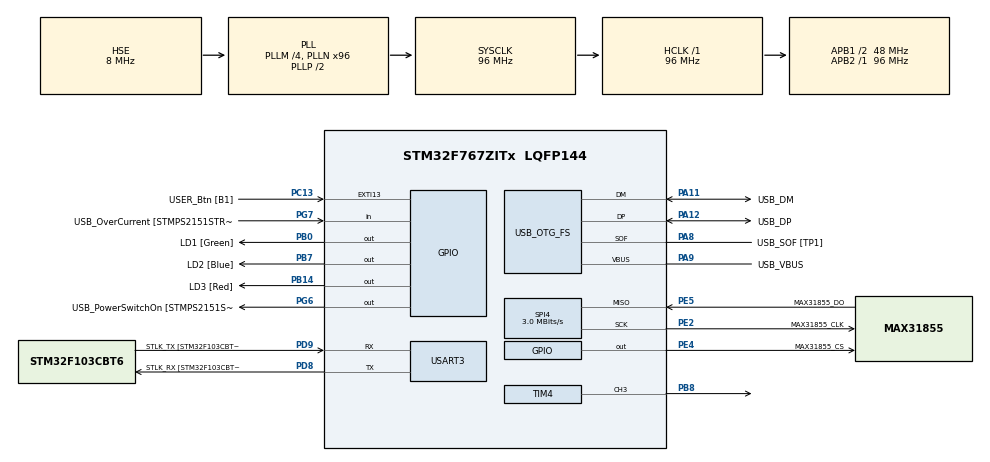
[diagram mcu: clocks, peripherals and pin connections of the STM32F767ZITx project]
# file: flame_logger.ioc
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Mcu.Family=STM32F7
Mcu.Name=STM32F767ZITx
Mcu.Package=LQFP144
NVIC.PriorityGroup=NVIC_PRIORITYGROUP_4
PA1.GPIO_Label=RMII_REF_CLK [LAN8742A-CZ-TR_REFCLK0]
PA1.Signal=ETH_REF_CLK
PA10.GPIO_Label=USB_ID
PA10.Signal=USB_OTG_FS_ID
PA11.GPIO_Label=USB_DM
PA11.Mode=Device_Only
PA11.Signal=USB_OTG_FS_DM
PA12.GPIO_Label=USB_DP
PA12.Mode=Device_Only
PA12.Signal=USB_OTG_FS_DP
PA13.GPIO_Label=TMS
PA13.Mode=Serial_Wire
PA13.Signal=SYS_JTMS-SWDIO
PA14.GPIO_Label=TCK
PA14.Mode=Serial_Wire
PA14.Signal=SYS_JTCK-SWCLK
PA2.GPIO_Label=RMII_MDIO [LAN8742A-CZ-TR_MDIO]
PA2.Signal=ETH_MDIO
PA7.GPIO_Label=RMII_CRS_DV [LAN8742A-CZ-TR_CRS_DV]
PA7.Signal=ETH_CRS_DV
PA8.GPIO_Label=USB_SOF [TP1]
PA8.Mode=Activate_SOF_FS
PA8.Signal=USB_OTG_FS_SOF
PA9.GPIO_Label=USB_VBUS
PA9.Mode=Activate_VBUS
PA9.Signal=USB_OTG_FS_VBUS
PB0.GPIO_Label=LD1 [Green]
PB0.Signal=GPIO_Output
PB13.GPIO_Label=RMII_TXD1 [LAN8742A-CZ-TR_TXD1]
PB13.Signal=ETH_TXD1
PB14.GPIO_Label=LD3 [Red]
PB14.Signal=GPIO_Output
PB3.GPIO_Label=SWO
PB3.Signal=SYS_JTDO-SWO
PB7.GPIO_Label=LD2 [Blue]
PB7.Signal=GPIO_Output
PB8.Signal=S_TIM4_CH3
PC1.GPIO_Label=RMII_MDC [LAN8742A-CZ-TR_MDC]
PC1.Signal=ETH_MDC
PC13.GPIO_Label=USER_Btn [B1]
PC13.Signal=GPXTI13
PC14/OSC32_IN.Mode=LSE-External-Oscillator
PC14/OSC32_IN.Signal=RCC_OSC32_IN
PC15/OSC32_OUT.Mode=LSE-External-Oscillator
PC15/OSC32_OUT.Signal=RCC_OSC32_OUT
PC4.GPIO_Label=RMII_RXD0 [LAN8742A-CZ-TR_RXD0]
PC4.Signal=ETH_RXD0
PC5.GPIO_Label=RMII_RXD1 [LAN8742A-CZ-TR_RXD1]
PC5.Signal=ETH_RXD1
PD8.GPIO_Label=STLK_RX [STM32F103CBT6_PA3]
PD8.Mode=Asynchronous
PD8.Signal=USART3_TX
PD9.GPIO_Label=STLK_TX [STM32F103CBT6_PA2]
PD9.Mode=Asynchronous
PD9.Signal=USART3_RX
PE2.GPIO_Label=MAX31855_CLK
PE2.Mode=RX_Only_Simplex_Unidirect_Master
PE2.Signal=SPI4_SCK
PE4.GPIO_Label=MAX31855_CS
PE4.Signal=GPIO_Output
PE5.GPIO_Label=MAX31855_DO
PE5.Mode=RX_Only_Simplex_Unidirect_Master
PE5.Signal=SPI4_MISO
PG11.GPIO_Label=RMII_TX_EN [LAN8742A-CZ-TR_TXEN]
PG11.Signal=ETH_TX_EN
PG13.GPIO_Label=RMII_TXD0 [LAN8742A-CZ-TR_TXD0]
PG13.Signal=ETH_TXD0
PG6.GPIO_Label=USB_PowerSwitchOn [STMPS2151STR_EN]
PG6.Signal=GPIO_Output
PG7.GPIO_Label=USB_OverCurrent [STMPS2151STR_FAULT]
PG7.Signal=GPIO_Input
PH0/OSC_IN.GPIO_Label=MCO [STM32F103CBT6_PA8]
PH0/OSC_IN.Mode=HSE-External-Clock-Source
PH0/OSC_IN.Signal=RCC_OSC_IN
PH1/OSC_OUT.Mode=HSE-External-Clock-Source
PH1/OSC_OUT.Signal=RCC_OSC_OUT
ProjectManager.HeapSize=0x200
ProjectManager.StackSize=0x400
ProjectManager.TargetToolchain=STM32CubeIDE
RCC.48MHZClocksFreq_Value=24000000
RCC.AHBFreq_Value=96000000
RCC.APB1CLKDivider=RCC_HCLK_DIV2
RCC.APB1Freq_Value=48000000
RCC.APB1TimFreq_Value=96000000
RCC.APB2Freq_Value=96000000
RCC.APB2TimFreq_Value=96000000
RCC.CortexFreq_Value=96000000
RCC.HCLKFreq_Value=96000000
RCC.HSE_VALUE=8000000
RCC.HSI_VALUE=16000000
RCC.PLLM=4
RCC.PLLMUL=RCC_PLL_MUL9
RCC.PLLN=96
RCC.PLLQ=4
RCC.PRESCALERUSB=RCC_USBCLKSOURCE_PLL_DIV1_5
RCC.SYSCLKFreq_VALUE=96000000
RCC.SYSCLKSource=RCC_SYSCLKSOURCE_PLLCLK
RCC.SYSCLKSourceVirtual=RCC_SYSCLKSOURCE_PLLCLK
RCC.USBFreq_Value=48000000
RCC.VCOOutputFreq_Value=192000000
SH.S_TIM4_CH3.0=TIM4_CH3,PWM Generation3 CH3
SPI4.BaudRatePrescaler=SPI_BAUDRATEPRESCALER_32
SPI4.CalculateBaudRate=3.0 MBits/s
SPI4.DataSize=SPI_DATASIZE_8BIT
SPI4.Direction=SPI_DIRECTION_2LINES_RXONLY
SPI4.Mode=SPI_MODE_MASTER
SPI4.NSSPMode=SPI_NSS_PULSE_DISABLE
SPI4.VirtualType=VM_MASTER
TIM4.Channel-PWM\ Generation3\ CH3=TIM_CHANNEL_3
TIM4.Period=19999
TIM4.Prescaler=95
USART3.VirtualMode-Asynchronous=VM_ASYNC
USB_OTG_FS.VirtualMode=Device_Only
board=NUCLEO-F767ZI

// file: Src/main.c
/* USER CODE BEGIN Header */
/**
  ******************************************************************************
  * @file           : main.c
  * @brief          : Main program body
  ******************************************************************************
  * @attention
  *
  * Copyright (c) 2025 STMicroelectronics.
  * All rights reserved.
  *
  * This software is licensed under terms that can be found in the LICENSE file
  * in the root directory of this software component.
  * If no LICENSE file comes with this software, it is provided AS-IS.
  *
  ******************************************************************************
  */
/* USER CODE END Header */
#include "main.h"

/* USER CODE BEGIN Includes */
#include "stdio.h"
#include "string.h"
/* USER CODE END Includes */

SPI_HandleTypeDef hspi4;

TIM_HandleTypeDef htim4;

UART_HandleTypeDef huart3;

PCD_HandleTypeDef hpcd_USB_OTG_FS;

void SystemClock_Config(void);
static void MX_GPIO_Init(void);
static void MX_USART3_UART_Init(void);
static void MX_USB_OTG_FS_PCD_Init(void);
static void MX_SPI4_Init(void);
static void MX_TIM4_Init(void);

/* USER CODE BEGIN 0 */
typedef struct {
  float tc_temp;
  float internal_temp;
  uint8_t fault;
  uint8_t scv, scg, oc;
} MAX31855_Data;

static uint16_t servo_pulse = 1500U;
static uint8_t motor_enabled = 1U;

static MAX31855_Data Read_MAX31855(void) {
  MAX31855_Data d = {0};
  uint8_t data[4];

  HAL_GPIO_WritePin(MAX31855_CS_GPIO_Port, MAX31855_CS_Pin, GPIO_PIN_RESET);
  HAL_SPI_Receive(&hspi4, data, 4, HAL_MAX_DELAY);
  HAL_GPIO_WritePin(MAX31855_CS_GPIO_Port, MAX31855_CS_Pin, GPIO_PIN_SET);

  uint32_t raw = ((uint32_t)data[0] << 24) |
                 ((uint32_t)data[1] << 16) |
                 ((uint32_t)data[2] << 8) |
                 ((uint32_t)data[3]);

  int16_t tc_raw = (raw >> 18) & 0x3FFF;
  if (tc_raw & 0x2000) {
    tc_raw |= 0xC000;
  }
  d.tc_temp = tc_raw * 0.25f;

  int16_t int_raw = (raw >> 4) & 0x0FFF;
  if (int_raw & 0x0800) {
    int_raw |= 0xF000;
  }
  d.internal_temp = int_raw * 0.0625f;

  d.fault = (raw >> 16) & 0x01;
  d.scv = (raw >> 2) & 0x01;
  d.scg = (raw >> 1) & 0x01;
  d.oc = raw & 0x01;

  return d;
}

static void ServoWrite(uint16_t pulse) {
  if (pulse < 500U) {
    pulse = 500U;
  } else if (pulse > 2500U) {
    pulse = 2500U;
  }
  servo_pulse = pulse;
  if (motor_enabled) {
    __HAL_TIM_SET_COMPARE(&htim4, TIM_CHANNEL_3, servo_pulse);
  }
}

static void MotorSet(uint8_t enable) {
  if (enable) {
    if (!motor_enabled) {
      HAL_TIM_PWM_Start(&htim4, TIM_CHANNEL_3);
      motor_enabled = 1U;
      __HAL_TIM_SET_COMPARE(&htim4, TIM_CHANNEL_3, servo_pulse);
    }
  } else {
    if (motor_enabled) {
      HAL_TIM_PWM_Stop(&htim4, TIM_CHANNEL_3);
      motor_enabled = 0U;
    }
  }
}

static void SendData(const MAX31855_Data *d) {
  char buf[96];

  if (d->fault) {
    snprintf(buf, sizeof buf, "DATA,%lu,%u,FAULT,%.2f,%.2f,%d,%d,%d\r\n",
             HAL_GetTick(),
             (unsigned int)servo_pulse,
             d->tc_temp,
             d->internal_temp,
             d->scv,
             d->scg,
             d->oc);
  } else {
    snprintf(buf, sizeof buf, "DATA,%lu,%u,%.2f,%.2f\r\n",
             HAL_GetTick(),
             (unsigned int)servo_pulse,
             d->tc_temp,
             d->internal_temp);
  }

  HAL_UART_Transmit(&huart3, (uint8_t *)buf, strlen(buf), HAL_MAX_DELAY);
}

/* USER CODE END 0 */

int main(void)
{

  /* MCU Configuration--------------------------------------------------------*/

  /* Reset of all peripherals, Initializes the Flash interface and the Systick. */
  HAL_Init();

  /* Configure the system clock */
  SystemClock_Config();

  /* Initialize all configured peripherals */
  MX_GPIO_Init();
  MX_USART3_UART_Init();
  MX_USB_OTG_FS_PCD_Init();
  MX_SPI4_Init();
  MX_TIM4_Init();
  /* USER CODE BEGIN 2 */
  HAL_TIM_PWM_Start(&htim4, TIM_CHANNEL_3);
  motor_enabled = 1U;
  ServoWrite(servo_pulse);
  /* USER CODE END 2 */

  /* Infinite loop */
  /* USER CODE BEGIN WHILE */
  while (1)
  {
      char rx_buf[32] = {0};
      uint8_t ch;
      uint8_t idx = 0;

      // vent på kommando (en linje som ender med '\n')
      do {
          HAL_UART_Receive(&huart3, &ch, 1, HAL_MAX_DELAY);
          if (ch == '\r') continue;
          rx_buf[idx++] = ch;
      } while (ch != '\n' && idx < sizeof(rx_buf) - 1);

    uint16_t new_pulse;

    if (sscanf(rx_buf, "SET %hu", &new_pulse) == 1)
    {
      ServoWrite(new_pulse);

      char msg[48];
      if (!motor_enabled)
      {
        snprintf(msg, sizeof msg, "ERR,DISABLED,%u\r\n", (unsigned int)servo_pulse);
      }
      else
      {
        snprintf(msg, sizeof msg, "OK,%u\r\n", (unsigned int)servo_pulse);
      }
      HAL_UART_Transmit(&huart3, (uint8_t *)msg, strlen(msg), HAL_MAX_DELAY);
    }
    else if (strncmp(rx_buf, "GET", 3) == 0)
    {
      MAX31855_Data d = Read_MAX31855();
      SendData(&d);
    }
    else if (strncmp(rx_buf, "MOTOR ON", 8) == 0)
    {
      MotorSet(1U);
      char msg[48];
      snprintf(msg, sizeof msg, "OK,MOTOR,ON,%u\r\n", (unsigned int)servo_pulse);
      HAL_UART_Transmit(&huart3, (uint8_t *)msg, strlen(msg), HAL_MAX_DELAY);
    }
    else if (strncmp(rx_buf, "MOTOR OFF", 9) == 0)
    {
      MotorSet(0U);
      char msg[48];
      snprintf(msg, sizeof msg, "OK,MOTOR,OFF,%u\r\n", (unsigned int)servo_pulse);
      HAL_UART_Transmit(&huart3, (uint8_t *)msg, strlen(msg), HAL_MAX_DELAY);
    }
    else
    {
      const char *err = "ERR,UNKNOWN\r\n";
      HAL_UART_Transmit(&huart3, (uint8_t *)err, strlen(err), HAL_MAX_DELAY);
    }
  /* USER CODE END WHILE */
  }
}

void SystemClock_Config(void)
{
  RCC_OscInitTypeDef RCC_OscInitStruct = {0};
  RCC_ClkInitTypeDef RCC_ClkInitStruct = {0};

  /** Configure LSE Drive Capability
  */
  HAL_PWR_EnableBkUpAccess();

  /** Configure the main internal regulator output voltage
  */
  __HAL_RCC_PWR_CLK_ENABLE();
  __HAL_PWR_VOLTAGESCALING_CONFIG(PWR_REGULATOR_VOLTAGE_SCALE3);

  /** Initializes the RCC Oscillators according to the specified parameters
  * in the RCC_OscInitTypeDef structure.
  */
  RCC_OscInitStruct.OscillatorType = RCC_OSCILLATORTYPE_HSE;
  RCC_OscInitStruct.HSEState = RCC_HSE_BYPASS;
  RCC_OscInitStruct.PLL.PLLState = RCC_PLL_ON;
  RCC_OscInitStruct.PLL.PLLSource = RCC_PLLSOURCE_HSE;
  RCC_OscInitStruct.PLL.PLLM = 4;
  RCC_OscInitStruct.PLL.PLLN = 96;
  RCC_OscInitStruct.PLL.PLLP = RCC_PLLP_DIV2;
  RCC_OscInitStruct.PLL.PLLQ = 4;
  RCC_OscInitStruct.PLL.PLLR = 2;
  if (HAL_RCC_OscConfig(&RCC_OscInitStruct) != HAL_OK)
  {
    Error_Handler();
  }

  /** Activate the Over-Drive mode
  */
  if (HAL_PWREx_EnableOverDrive() != HAL_OK)
  {
    Error_Handler();
  }

  /** Initializes the CPU, AHB and APB buses clocks
  */
  RCC_ClkInitStruct.ClockType = RCC_CLOCKTYPE_HCLK|RCC_CLOCKTYPE_SYSCLK
                              |RCC_CLOCKTYPE_PCLK1|RCC_CLOCKTYPE_PCLK2;
  RCC_ClkInitStruct.SYSCLKSource = RCC_SYSCLKSOURCE_PLLCLK;
  RCC_ClkInitStruct.AHBCLKDivider = RCC_SYSCLK_DIV1;
  RCC_ClkInitStruct.APB1CLKDivider = RCC_HCLK_DIV2;
  RCC_ClkInitStruct.APB2CLKDivider = RCC_HCLK_DIV1;

  if (HAL_RCC_ClockConfig(&RCC_ClkInitStruct, FLASH_LATENCY_3) != HAL_OK)
  {
    Error_Handler();
  }
}

static void MX_SPI4_Init(void)
{

  /* SPI4 parameter configuration*/
  hspi4.Instance = SPI4;
  hspi4.Init.Mode = SPI_MODE_MASTER;
  hspi4.Init.Direction = SPI_DIRECTION_2LINES_RXONLY;
  hspi4.Init.DataSize = SPI_DATASIZE_8BIT;
  hspi4.Init.CLKPolarity = SPI_POLARITY_LOW;
  hspi4.Init.CLKPhase = SPI_PHASE_1EDGE;
  hspi4.Init.NSS = SPI_NSS_SOFT;
  hspi4.Init.BaudRatePrescaler = SPI_BAUDRATEPRESCALER_32;
  hspi4.Init.FirstBit = SPI_FIRSTBIT_MSB;
  hspi4.Init.TIMode = SPI_TIMODE_DISABLE;
  hspi4.Init.CRCCalculation = SPI_CRCCALCULATION_DISABLE;
  hspi4.Init.CRCPolynomial = 7;
  hspi4.Init.CRCLength = SPI_CRC_LENGTH_DATASIZE;
  hspi4.Init.NSSPMode = SPI_NSS_PULSE_DISABLE;
  if (HAL_SPI_Init(&hspi4) != HAL_OK)
  {
    Error_Handler();
  }

}

static void MX_TIM4_Init(void)
{

  TIM_MasterConfigTypeDef sMasterConfig = {0};
  TIM_OC_InitTypeDef sConfigOC = {0};

  htim4.Instance = TIM4;
  htim4.Init.Prescaler = 95;
  htim4.Init.CounterMode = TIM_COUNTERMODE_UP;
  htim4.Init.Period = 19999;
  htim4.Init.ClockDivision = TIM_CLOCKDIVISION_DIV1;
  htim4.Init.AutoReloadPreload = TIM_AUTORELOAD_PRELOAD_DISABLE;
  if (HAL_TIM_PWM_Init(&htim4) != HAL_OK)
  {
    Error_Handler();
  }
  sMasterConfig.MasterOutputTrigger = TIM_TRGO_RESET;
  sMasterConfig.MasterSlaveMode = TIM_MASTERSLAVEMODE_DISABLE;
  if (HAL_TIMEx_MasterConfigSynchronization(&htim4, &sMasterConfig) != HAL_OK)
  {
    Error_Handler();
  }
  sConfigOC.OCMode = TIM_OCMODE_PWM1;
  sConfigOC.Pulse = 0;
  sConfigOC.OCPolarity = TIM_OCPOLARITY_HIGH;
  sConfigOC.OCFastMode = TIM_OCFAST_DISABLE;
  if (HAL_TIM_PWM_ConfigChannel(&htim4, &sConfigOC, TIM_CHANNEL_3) != HAL_OK)
  {
    Error_Handler();
  }
  HAL_TIM_MspPostInit(&htim4);

}

static void MX_USART3_UART_Init(void)
{

  huart3.Instance = USART3;
  huart3.Init.BaudRate = 115200;
  huart3.Init.WordLength = UART_WORDLENGTH_8B;
  huart3.Init.StopBits = UART_STOPBITS_1;
  huart3.Init.Parity = UART_PARITY_NONE;
  huart3.Init.Mode = UART_MODE_TX_RX;
  huart3.Init.HwFlowCtl = UART_HWCONTROL_NONE;
  huart3.Init.OverSampling = UART_OVERSAMPLING_16;
  huart3.Init.OneBitSampling = UART_ONE_BIT_SAMPLE_DISABLE;
  huart3.AdvancedInit.AdvFeatureInit = UART_ADVFEATURE_NO_INIT;
  if (HAL_UART_Init(&huart3) != HAL_OK)
  {
    Error_Handler();
  }

}

static void MX_USB_OTG_FS_PCD_Init(void)
{

  hpcd_USB_OTG_FS.Instance = USB_OTG_FS;
  hpcd_USB_OTG_FS.Init.dev_endpoints = 6;
  hpcd_USB_OTG_FS.Init.speed = PCD_SPEED_FULL;
  hpcd_USB_OTG_FS.Init.dma_enable = DISABLE;
  hpcd_USB_OTG_FS.Init.phy_itface = PCD_PHY_EMBEDDED;
  hpcd_USB_OTG_FS.Init.Sof_enable = ENABLE;
  hpcd_USB_OTG_FS.Init.low_power_enable = DISABLE;
  hpcd_USB_OTG_FS.Init.lpm_enable = DISABLE;
  hpcd_USB_OTG_FS.Init.vbus_sensing_enable = ENABLE;
  hpcd_USB_OTG_FS.Init.use_dedicated_ep1 = DISABLE;
  if (HAL_PCD_Init(&hpcd_USB_OTG_FS) != HAL_OK)
  {
    Error_Handler();
  }

}

static void MX_GPIO_Init(void)
{
  GPIO_InitTypeDef GPIO_InitStruct = {0};

  /* GPIO Ports Clock Enable */
  __HAL_RCC_GPIOE_CLK_ENABLE();
  __HAL_RCC_GPIOC_CLK_ENABLE();
  __HAL_RCC_GPIOH_CLK_ENABLE();
  __HAL_RCC_GPIOA_CLK_ENABLE();
  __HAL_RCC_GPIOB_CLK_ENABLE();
  __HAL_RCC_GPIOD_CLK_ENABLE();
  __HAL_RCC_GPIOG_CLK_ENABLE();

  /*Configure GPIO pin Output Level */
  HAL_GPIO_WritePin(MAX31855_CS_GPIO_Port, MAX31855_CS_Pin, GPIO_PIN_RESET);

  /*Configure GPIO pin Output Level */
  HAL_GPIO_WritePin(GPIOB, LD1_Pin|LD3_Pin|LD2_Pin, GPIO_PIN_RESET);

  /*Configure GPIO pin Output Level */
  HAL_GPIO_WritePin(USB_PowerSwitchOn_GPIO_Port, USB_PowerSwitchOn_Pin, GPIO_PIN_RESET);

  /*Configure GPIO pin : MAX31855_CS_Pin */
  GPIO_InitStruct.Pin = MAX31855_CS_Pin;
  GPIO_InitStruct.Mode = GPIO_MODE_OUTPUT_PP;
  GPIO_InitStruct.Pull = GPIO_NOPULL;
  GPIO_InitStruct.Speed = GPIO_SPEED_FREQ_LOW;
  HAL_GPIO_Init(MAX31855_CS_GPIO_Port, &GPIO_InitStruct);

  /*Configure GPIO pin : USER_Btn_Pin */
  GPIO_InitStruct.Pin = USER_Btn_Pin;
  GPIO_InitStruct.Mode = GPIO_MODE_IT_RISING;
  GPIO_InitStruct.Pull = GPIO_NOPULL;
  HAL_GPIO_Init(USER_Btn_GPIO_Port, &GPIO_InitStruct);

  /*Configure GPIO pins : RMII_MDC_Pin RMII_RXD0_Pin RMII_RXD1_Pin */
  GPIO_InitStruct.Pin = RMII_MDC_Pin|RMII_RXD0_Pin|RMII_RXD1_Pin;
  GPIO_InitStruct.Mode = GPIO_MODE_AF_PP;
  GPIO_InitStruct.Pull = GPIO_NOPULL;
  GPIO_InitStruct.Speed = GPIO_SPEED_FREQ_VERY_HIGH;
  GPIO_InitStruct.Alternate = GPIO_AF11_ETH;
  HAL_GPIO_Init(GPIOC, &GPIO_InitStruct);

  /*Configure GPIO pins : RMII_REF_CLK_Pin RMII_MDIO_Pin RMII_CRS_DV_Pin */
  GPIO_InitStruct.Pin = RMII_REF_CLK_Pin|RMII_MDIO_Pin|RMII_CRS_DV_Pin;
  GPIO_InitStruct.Mode = GPIO_MODE_AF_PP;
  GPIO_InitStruct.Pull = GPIO_NOPULL;
  GPIO_InitStruct.Speed = GPIO_SPEED_FREQ_VERY_HIGH;
  GPIO_InitStruct.Alternate = GPIO_AF11_ETH;
  HAL_GPIO_Init(GPIOA, &GPIO_InitStruct);

  /*Configure GPIO pins : LD1_Pin LD3_Pin LD2_Pin */
  GPIO_InitStruct.Pin = LD1_Pin|LD3_Pin|LD2_Pin;
  GPIO_InitStruct.Mode = GPIO_MODE_OUTPUT_PP;
  GPIO_InitStruct.Pull = GPIO_NOPULL;
  GPIO_InitStruct.Speed = GPIO_SPEED_FREQ_LOW;
  HAL_GPIO_Init(GPIOB, &GPIO_InitStruct);

  /*Configure GPIO pin : RMII_TXD1_Pin */
  GPIO_InitStruct.Pin = RMII_TXD1_Pin;
  GPIO_InitStruct.Mode = GPIO_MODE_AF_PP;
  GPIO_InitStruct.Pull = GPIO_NOPULL;
  GPIO_InitStruct.Speed = GPIO_SPEED_FREQ_VERY_HIGH;
  GPIO_InitStruct.Alternate = GPIO_AF11_ETH;
  HAL_GPIO_Init(RMII_TXD1_GPIO_Port, &GPIO_InitStruct);

  /*Configure GPIO pin : USB_PowerSwitchOn_Pin */
  GPIO_InitStruct.Pin = USB_PowerSwitchOn_Pin;
  GPIO_InitStruct.Mode = GPIO_MODE_OUTPUT_PP;
  GPIO_InitStruct.Pull = GPIO_NOPULL;
  GPIO_InitStruct.Speed = GPIO_SPEED_FREQ_LOW;
  HAL_GPIO_Init(USB_PowerSwitchOn_GPIO_Port, &GPIO_InitStruct);

  /*Configure GPIO pin : USB_OverCurrent_Pin */
  GPIO_InitStruct.Pin = USB_OverCurrent_Pin;
  GPIO_InitStruct.Mode = GPIO_MODE_INPUT;
  GPIO_InitStruct.Pull = GPIO_NOPULL;
  HAL_GPIO_Init(USB_OverCurrent_GPIO_Port, &GPIO_InitStruct);

  /*Configure GPIO pins : RMII_TX_EN_Pin RMII_TXD0_Pin */
  GPIO_InitStruct.Pin = RMII_TX_EN_Pin|RMII_TXD0_Pin;
  GPIO_InitStruct.Mode = GPIO_MODE_AF_PP;
  GPIO_InitStruct.Pull = GPIO_NOPULL;
  GPIO_InitStruct.Speed = GPIO_SPEED_FREQ_VERY_HIGH;
  GPIO_InitStruct.Alternate = GPIO_AF11_ETH;
  HAL_GPIO_Init(GPIOG, &GPIO_InitStruct);

}

void Error_Handler(void)
{
  __disable_irq();
  while (1)
  {
  }
}
